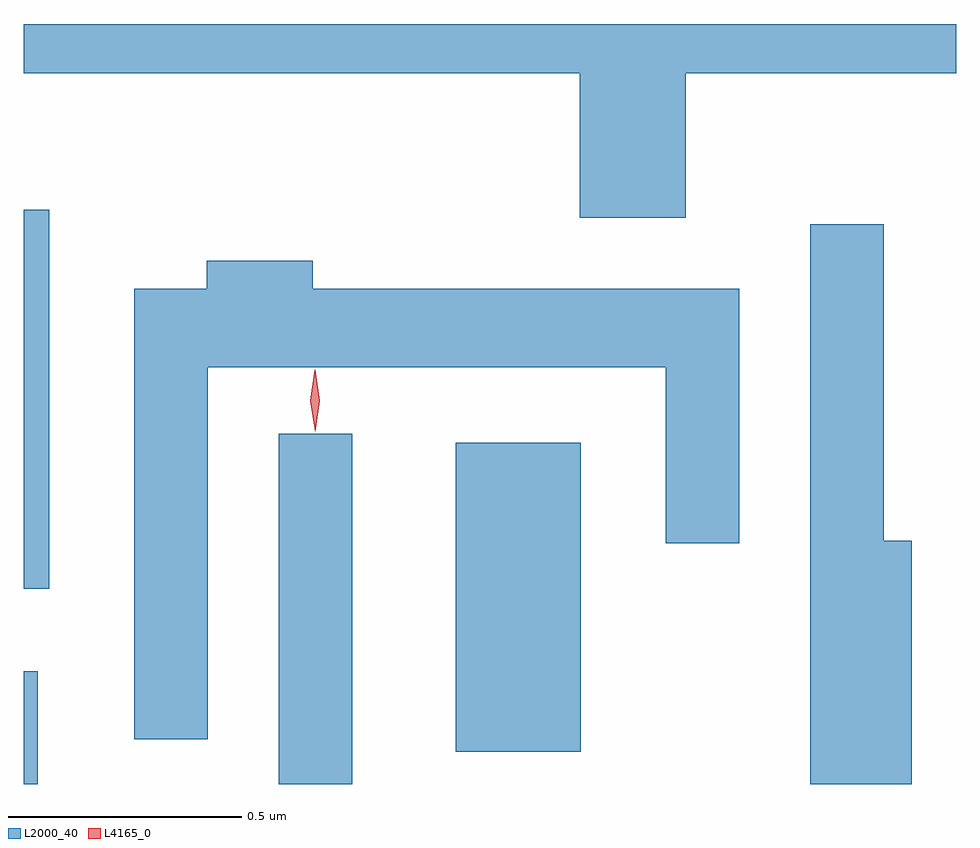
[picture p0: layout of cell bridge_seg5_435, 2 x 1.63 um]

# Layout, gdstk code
import gdstk
lib = gdstk.Library(unit=1e-6, precision=1e-09)
def R(c, l, rs):  # rectangles x0, y0, x1, y1
    for r in rs: c.add(gdstk.rectangle(r[:2], r[2:], *l))
def P(c, l, *ps):  # polygons
    for p in ps: c.add(gdstk.Polygon(p, *l))
L2000_40 = (2000, 40)
L4165_0 = (4165, 0)

bridge_seg5_435 = lib.new_cell('bridge_seg5_435')
R(bridge_seg5_435, L2000_40, [(483.319,1528.532,483.349,1528.774), (483.866,1528.532,484.024,1529.283), (484.246,1528.601,484.514,1529.264), (483.319,1528.951,483.374,1529.764)])
P(bridge_seg5_435, L2000_40, [(484.739,1530.056),(485.319,1530.056),(485.319,1530.162),(483.319,1530.162),(483.319,1530.056),(484.511,1530.056),(484.511,1529.746),(484.739,1529.746)],
  [(485.224,1529.054),(485.164,1529.054),(485.164,1529.733),(485.006,1529.733),(485.006,1528.532),(485.224,1528.532)],
  [(483.714,1529.426),(484.696,1529.426),(484.696,1529.048),(484.854,1529.048),(484.854,1529.594),(483.939,1529.594),(483.939,1529.654),(483.711,1529.654),(483.711,1529.594),(483.556,1529.594),(483.556,1528.628),(483.714,1528.628)])
P(bridge_seg5_435, L4165_0, [(483.944,1529.287),(483.944,1529.288),(483.934,1529.354),(483.943,1529.42),(483.944,1529.42),(483.944,1529.42),(483.954,1529.354),(483.944,1529.288)])

lib.write_gds('bridge_seg5_435.gds')
